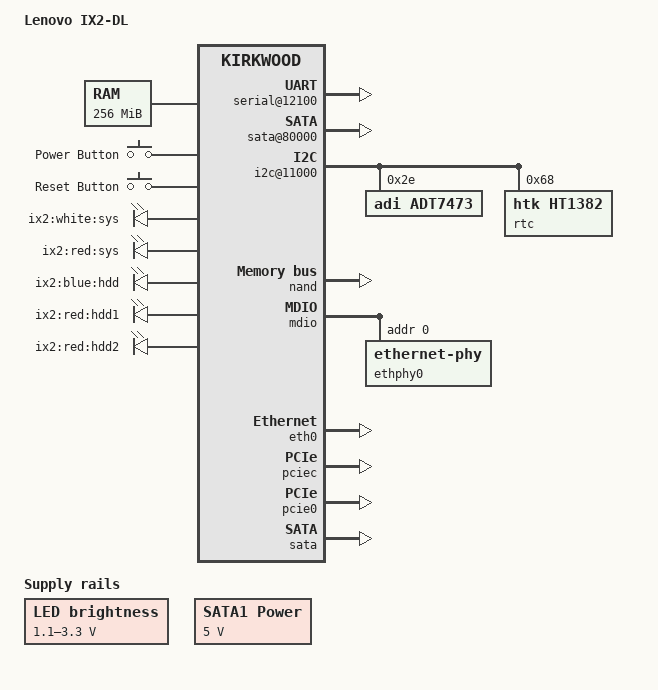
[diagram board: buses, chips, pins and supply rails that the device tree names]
// SPDX-License-Identifier: GPL-2.0-only
/dts-v1/;

#include "kirkwood.dtsi"
#include "kirkwood-6282.dtsi"

/ {
	model = "Lenovo IX2-DL";
	compatible = "lenovo,ix2", "marvell,kirkwood-88f6282", "marvell,kirkwood";

	memory {
		device_type = "memory";
		reg = <0x00 0x10000000>;
	};

	chosen {
		bootargs = "console=ttyS0,115200n8 earlyprintk";
		stdout-path = "/ocp@f1000000/serial@12100";
	};

	ocp@f1000000 {
		pinctrl: pin-controller@10000 {
			pinctrl-names = "default";

			pmx_usb_power: pmx-usb-power {
				marvell,pins = "mpp21";
				marvell,function = "gpio";
			};

			pmx-power-off {
				marvell,pins = "mpp36";
				marvell,function = "gpio";
				phandle = < 0x12 >;
			};

			pmx-btn-power {
				marvell,pins = "mpp15";
				marvell,function = "gpio";
				phandle = < 0x14 >;
			};

			pmx-btn-reset {
				marvell,pins = "mpp29";
				marvell,function = "gpio";
				phandle = < 0x15 >;
			};

			pmx-led-sys-white {
				marvell,pins = "mpp39";
				marvell,function = "gpio";
				phandle = < 0x17 >;
			};

			pmx-led-sys-red {
				marvell,pins = "mpp37";
				marvell,function = "gpio";
				phandle = < 0x18 >;
			};

			pmx-led-hdd-blue {
				marvell,pins = "mpp26";
				marvell,function = "gpio";
				phandle = < 0x19 >;
			};

			pmx-led-hdd1-red {
				marvell,pins = "mpp25";
				marvell,function = "gpio";
				phandle = < 0x1a >;
			};

			pmx-led-hdd2-red {
				marvell,pins = "mpp24";
				marvell,function = "gpio";
				phandle = < 0x1b >;
			};

			pmx-led-brightness {
				marvell,pins = "mpp40\0mpp41";
				marvell,function = "gpio";
				phandle = < 0x1c >;
			};

  			pmx-sata0 {
				marvell,pins = "mpp5\0mpp21\0mpp23";
				marvell,function = "sata0";
			};

			pmx-sata1 {
				marvell,pins = "mpp4\0mpp20\0mpp22";
				marvell,function = "sata1";
			};
      
			pmx-sata1-power {
				marvell,pins = "mpp17";
				marvell,function = "gpio";
				phandle = < 0x1d >;
			};

		};
		serial@12100 {
                        status = "okay";
                };		

		sata@80000 {
			status = "okay";
			nr-ports= <2>;
		};

		i2c@11000 {
			status = "okay";
      		adt7473@2e {
			compatible = "adi,adt7473";
			reg = < 0x2e >;
			};
      
			rtc@68 {
			compatible = "htk,ht1382";
			reg = <0x68>;
			};
		};
	};
	regulators {
		compatible = "simple-bus";
		#address-cells = <0x01>;
		#size-cells = <0x00>;
		pinctrl-0 = <0x1c 0x1d>;
		pinctrl-names = "default";

		regulator@1 {
			compatible = "regulator-gpio";
			reg = < 0x01 >;
			regulator-name = "LED brightness";
			regulator-type = "voltage";
			regulator-min-microvolt = < 0x10c8e0 >;
			regulator-max-microvolt = < 0x325aa0 >;
			gpios = < 0x13 0x09 0x00 0x13 0x08 0x00 >;
			gpios_states = < 0x01 0x01 >;
			state = < 0x325aa0 0x03 0x2191c0 0x01 0x10c8e0 0x00 >;
			regulator-always-on;
			regulator-boot-on;
			enable-active-high;
		};

		regulator@2 {
			compatible = "regulator-fixed";
			reg = < 0x02 >;
			regulator-name = "SATA1 Power";
			regulator-min-microvolt = < 0x4c4b40 >;
			regulator-max-microvolt = < 0x4c4b40 >;
			regulator-always-on;
			regulator-boot-on;
			enable-active-high;
			gpio = < 0x16 0x11 0x00 >;
		};
	};

	keys {
		compatible = "gpio-keys";
		#address-cells = < 0x01 >;
		#size-cells = < 0x00 >;
		pinctrl-0 = < 0x14 0x15 >;
		pinctrl-names = "default";

		power {
			label = "Power Button";
			linux,code = < 0x74 >;
			gpios = < 0x16 0x0f 0x00 >;
		};

		reset {
			label = "Reset Button";
			linux,code = < 0x198 >;
			gpios = < 0x16 0x1d 0x01 >;
		};
	};

	leds {
		compatible = "gpio-leds";
		pinctrl-0 = < 0x17 0x18 0x19 0x1a 0x1b >;
		pinctrl-names = "default";

		white-sys {
			label = "ix2:white:sys";
			gpios = < 0x13 0x07 0x00 >;
			default-state = "keep";
		};

		red-sys {
			label = "ix2:red:sys";
			gpios = < 0x13 0x05 0x00 >;
		};

		blue-hdd {
			label = "ix2:blue:hdd";
			gpios = < 0x16 0x1a 0x00 >;
		};

		red-hdd1 {
			label = "ix2:red:hdd1";
			gpios = < 0x16 0x19 0x00 >;
		};

		red-hdd2 {
			label = "ix2:red:hdd2";
			gpios = < 0x16 0x18 0x00 >;
		};
	};

	gpio-poweroff {
		compatible = "gpio-poweroff";
		gpios = < 0x13 0x04 0x00 >;
	};
};

&nand {
		chip-delay = < 0x23 >;
		status = "okay";

			partition@0 {
				label = "uboot";
				reg = < 0x0000000 0x0080000 >;
				read-only;
			};

			partition@0a0000 {
				label = "uboot_env";
				reg = < 0x00a0000 0x0020000 >;
			};

			partition@0c0000 {
				label = "uboot_env2";
				reg = < 0x00c0000 0x0020000 >;
			};

			partition@100000 {
				label = "kernel";
				reg = < 0x0100000 0x0300000 >;
			};

			partition@400000 {
				label = "ubi";
				reg = < 0x0400000 0x020000000 >;
			};
};

&mdio {
	status = "okay";
	ethphy0: ethernet-phy@0 {
		reg = <0>;
		phy-handle = < 0x0c >;
	};
};

&eth0 {
	status = "okay";
	ethernet0-port@0 {
		phy-handle = <&ethphy0>;
	};
};

&pciec {
        status = "okay";
};

&pcie0 {
	status = "okay";
};

&sata {
	status = "okay";
	nr-ports = <2>;
};
